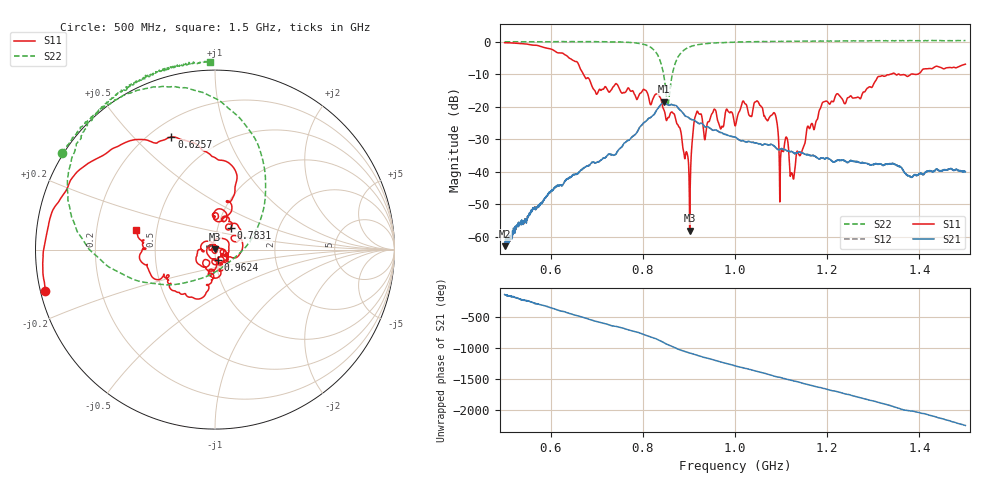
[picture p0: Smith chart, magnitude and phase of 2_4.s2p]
!Keysight Technologies,N5242B,MY48420860,A.13.80.08
!Date: Saturday, September 26, 2020 12:56:58
!Correction: S11(Full 2 Port(1,2))
!S21(Full 2 Port(1,2))
!S12(Full 2 Port(1,2))
!S22(Full 2 Port(1,2))
!S2P File: Measurements: S11, S21, S12, S22:
# Hz S  dB  R 50
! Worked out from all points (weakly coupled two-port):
!   2650 points, 500 MHz to 1.5 GHz, reference 50 ohm
!   highest |S21| = -18.44 dB at 845.4 MHz (marker M1); lowest = -62.9 dB at 501.1 MHz (marker M2)
!   lowest |S11| = -58.1 dB at 901.7 MHz (marker M3), VSWR 1.00, Z = 50.1 + j0.112 ohm
!   |S11| at or under -10 dB: 671 MHz to 1.336 GHz (665 MHz wide, 66.3 % of centre); 1.348355 GHz to 1.35312 GHz (4.765 MHz wide, 0.353 % of centre); 1.357 GHz to 1.381 GHz (24.52 MHz wide, 1.79 % of centre) (the widest 3 of 4)
!   |S22| runs from -19.7 to 0.4 dB; largest |S21 - S12| = 0.00052
!   S11 on the Smith chart (normalised r, x): 500 MHz: 0.01, -0.12; 625.7 MHz: 0.28, +0.65; 783.1 MHz: 1.16, +0.29; 962.4 MHz: 1.03, -0.12; 1.5 GHz: 0.38, +0.11
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5e8  -0.24 -166.2  -62.61 -129.6  -61.68 -138.8  0.05 147.8
5.011325e8  -0.25 -166.8  -62.87 -131.7  -62.26 -133.7  0.05 147.7
6.257078e8  -3.44 111.2  -44.05 -41.6  -44.10 -42.1  0.11 137.7
6.668554e8  -8.89 72.0  -39.34 -132.7  -39.35 -132.5  0.08 133.2
7.831257e8  -16.40 53.6  -28.50 -13.1  -28.54 -13.2  -0.29 110.3
8.337108e8  -16.28 3.0  -20.24 -144.9  -20.27 -145.0  -4.45 64.9
8.454134e8  -20.80 -26.3  -18.44 168.6  -18.48 168.5  -10.25 33.9
8.552284e8  -23.29 -21.4  -19.48 134.0  -19.49 133.9  -19.11 -74.2
8.729709e8  -24.83 -97.1  -19.66 75.1  -19.68 75.1  -5.66 -164.0
9.01661e8  -58.10 63.7  -23.57 0.3  -23.60 0.2  -1.53 164.4
9.16006e8  -21.94 47.9  -24.59 -32.6  -24.64 -32.6  -0.95 156.4
9.624387e8  -24.27 -74.6  -27.39 -131.8  -27.41 -131.8  -0.25 142.7
1.000189e9  -25.84 -92.9  -29.27 152.0  -29.28 152.1  -0.07 136.3
1.019064e9  -18.36 -112.0  -30.47 116.4  -30.51 116.2  -0.05 133.5
1.084749e9  -21.78 163.7  -31.98 -15.2  -31.99 -15.3  0.17 126.4
1.099094e9  -35.20 -169.2  -32.94 -37.8  -32.97 -37.9  0.18 125.0
1.111929e9  -29.35 157.1  -33.43 -65.9  -33.44 -65.9  0.17 123.6
1.124009e9  -40.58 117.1  -33.80 -87.8  -33.84 -87.9  0.18 122.6
1.166667e9  -25.10 -39.9  -35.01 -168.1  -35.02 -168.3  0.20 118.8
1.193469e9  -18.42 -62.0  -35.91 142.5  -35.94 142.4  0.27 116.9
1.333522e9  -10.15 -129.9  -37.53 -125.8  -37.64 -126.7  0.38 105.4
1.5e9  -6.86 166.0  -39.93 -97.0  -39.90 -96.2  0.40 91.5
